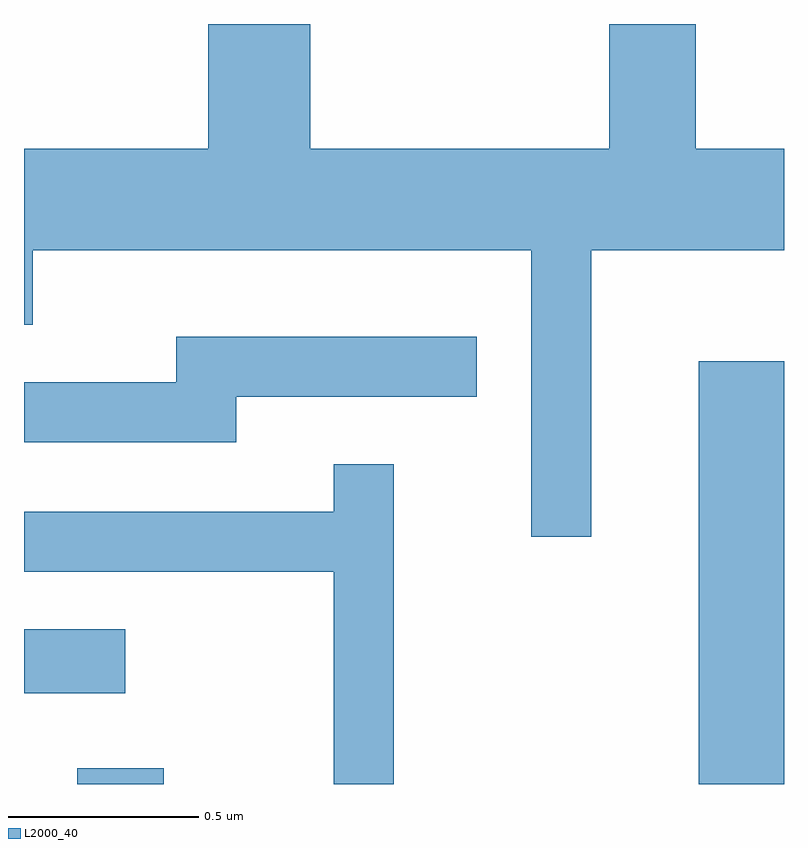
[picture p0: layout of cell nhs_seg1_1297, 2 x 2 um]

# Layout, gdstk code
import gdstk
lib = gdstk.Library(unit=1e-6, precision=1e-09)
def R(c, l, rs):  # rectangles x0, y0, x1, y1
    for r in rs: c.add(gdstk.rectangle(r[:2], r[2:], *l))
def P(c, l, *ps):  # polygons
    for p in ps: c.add(gdstk.Polygon(p, *l))
L2000_40 = (2000, 40)

nhs_seg1_1297 = lib.new_cell('nhs_seg1_1297')
R(nhs_seg1_1297, L2000_40, [(194.751,913.712,194.979,913.754), (196.386,913.712,196.611,914.824), (194.611,913.951,194.878,914.119)])
P(nhs_seg1_1297, L2000_40, [(196.104,915.116),(196.611,915.116),(196.611,915.384),(196.379,915.384),(196.379,915.712),(196.151,915.712),(196.151,915.384),(195.364,915.384),(195.364,915.712),(195.096,915.712),(195.096,915.384),(194.611,915.384),(194.611,914.921),(194.634,914.921),(194.634,915.116),(195.946,915.116),(195.946,914.363),(196.104,914.363)],
  [(195.169,914.731),(195.803,914.731),(195.803,914.889),(195.011,914.889),(195.011,914.769),(194.611,914.769),(194.611,914.611),(195.169,914.611)],
  [(195.584,914.553),(195.426,914.553),(195.426,914.429),(194.611,914.429),(194.611,914.271),(195.426,914.271),(195.426,913.712),(195.584,913.712)])

lib.write_gds('nhs_seg1_1297.gds')
